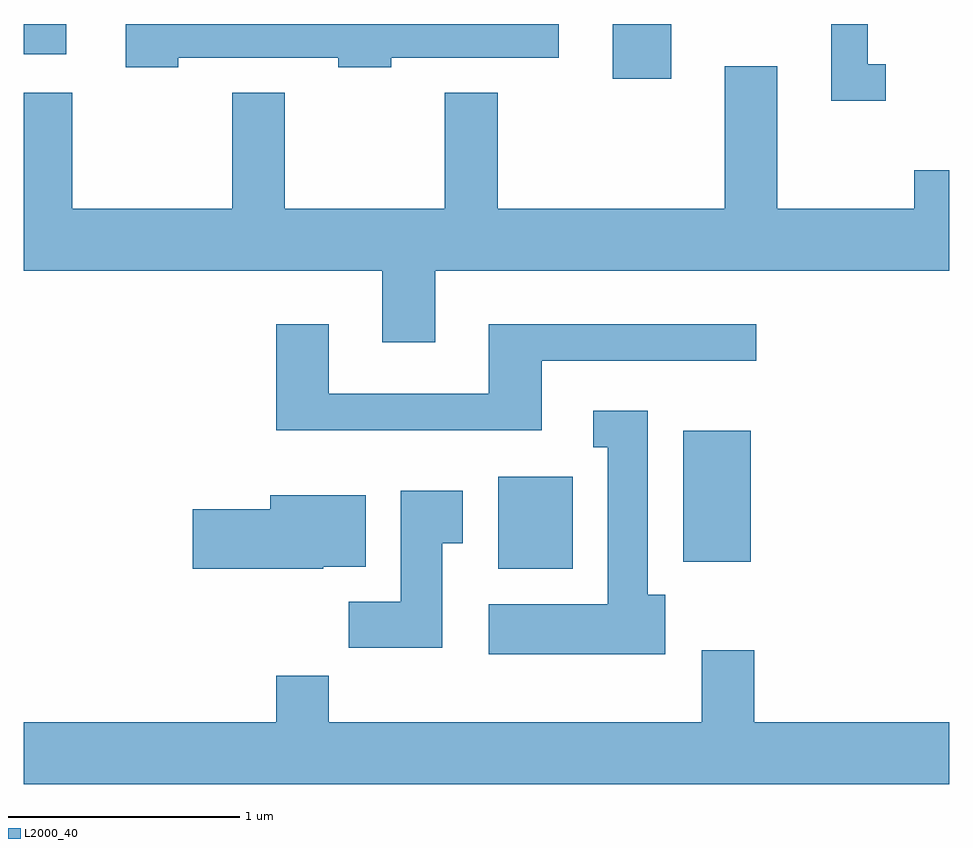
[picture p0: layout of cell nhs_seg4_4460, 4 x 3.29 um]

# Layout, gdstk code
import gdstk
lib = gdstk.Library(unit=1e-6, precision=1e-09)
def R(c, l, rs):  # rectangles x0, y0, x1, y1
    for r in rs: c.add(gdstk.rectangle(r[:2], r[2:], *l))
def P(c, l, *ps):  # polygons
    for p in ps: c.add(gdstk.Polygon(p, *l))
L2000_40 = (2000, 40)

nhs_seg4_4460 = lib.new_cell('nhs_seg4_4460')
R(nhs_seg4_4460, L2000_40, [(317.661,1335.626,317.984,1336.024), (318.461,1335.656,318.754,1336.224), (318.156,1337.746,318.409,1337.982), (315.611,1337.851,315.794,1337.982)])
P(nhs_seg4_4460, L2000_40, [(316.279,1337.836),(316.971,1337.836),(316.971,1337.796),(317.199,1337.796),(317.199,1337.836),(317.924,1337.836),(317.924,1337.982),(316.051,1337.982),(316.051,1337.796),(316.279,1337.796)],
  [(319.338,1337.809),(319.259,1337.809),(319.259,1337.982),(319.101,1337.982),(319.101,1337.651),(319.338,1337.651)],
  [(317.389,1336.916),(319.611,1336.916),(319.611,1337.349),(319.461,1337.349),(319.461,1337.184),(318.869,1337.184),(318.869,1337.799),(318.641,1337.799),(318.641,1337.184),(317.659,1337.184),(317.659,1337.684),(317.431,1337.684),(317.431,1337.184),(316.739,1337.184),(316.739,1337.684),(316.511,1337.684),(316.511,1337.184),(315.819,1337.184),(315.819,1337.684),(315.611,1337.684),(315.611,1336.916),(317.161,1336.916),(317.161,1336.606),(317.389,1336.606)],
  [(317.849,1336.526),(318.778,1336.526),(318.778,1336.684),(317.621,1336.684),(317.621,1336.384),(316.929,1336.384),(316.929,1336.684),(316.701,1336.684),(316.701,1336.226),(317.849,1336.226)],
  [(318.384,1335.514),(318.309,1335.514),(318.309,1336.309),(318.073,1336.309),(318.073,1336.151),(318.136,1336.151),(318.136,1335.474),(317.621,1335.474),(317.621,1335.256),(318.384,1335.256)],
  [(317.419,1335.736),(317.509,1335.736),(317.509,1335.964),(317.241,1335.964),(317.241,1335.484),(317.016,1335.484),(317.016,1335.286),(317.419,1335.286)],
  [(316.905,1335.636),(317.089,1335.636),(317.089,1335.944),(316.676,1335.944),(316.676,1335.884),(316.341,1335.884),(316.341,1335.626),(316.905,1335.626)],
  [(319.611,1334.964),(318.769,1334.964),(318.769,1335.274),(318.541,1335.274),(318.541,1334.964),(316.929,1334.964),(316.929,1335.164),(316.701,1335.164),(316.701,1334.964),(315.611,1334.964),(315.611,1334.696),(319.611,1334.696)])

lib.write_gds('nhs_seg4_4460.gds')
